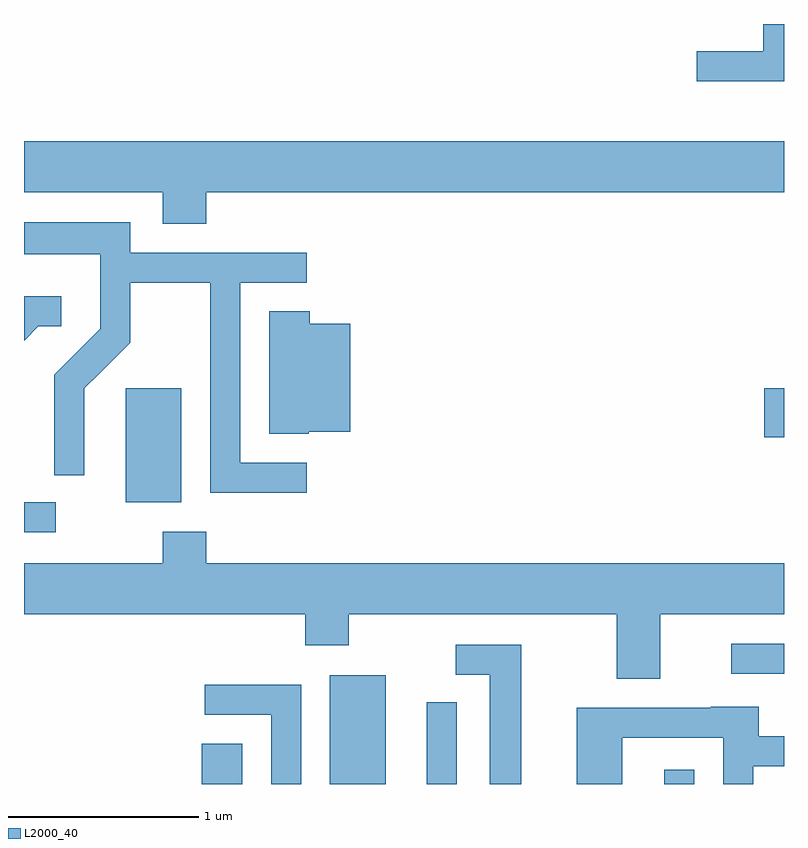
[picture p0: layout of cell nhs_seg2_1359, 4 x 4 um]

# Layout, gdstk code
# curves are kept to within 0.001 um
import gdstk
lib = gdstk.Library(unit=1e-6, precision=1e-09)
def R(c, l, rs):  # rectangles x0, y0, x1, y1
    for r in rs: c.add(gdstk.rectangle(r[:2], r[2:], *l))
def P(c, l, *ps):  # polygons
    for p in ps: c.add(gdstk.Polygon(p, *l))
L2000_40 = (2000, 40)

nhs_seg2_1359 = lib.new_cell('nhs_seg2_1359')
R(nhs_seg2_1359, L2000_40, [(224.546,1111.802,224.759,1112.014), (225.221,1111.802,225.514,1112.374), (225.731,1111.802,225.889,1112.233), (226.981,1111.802,227.139,1111.878), (227.333,1112.381,227.611,1112.539), (223.611,1113.126,223.778,1113.284), (224.146,1113.286,224.439,1113.884), (227.506,1113.626,227.611,1113.884)])
P(nhs_seg2_1359, L2000_40, [(227.611,1115.802),(227.501,1115.802),(227.501,1115.659),(227.153,1115.659),(227.153,1115.501),(227.611,1115.501)],
  [(224.569,1114.916),(227.611,1114.916),(227.611,1115.184),(223.611,1115.184),(223.611,1114.916),(224.341,1114.916),(224.341,1114.751),(224.569,1114.751)],
  [(225.098,1113.494),(224.749,1113.494),(224.749,1114.441),(225.098,1114.441),(225.098,1114.599),(224.169,1114.599),(224.169,1114.759),(223.611,1114.759),(223.611,1114.591),(224.011,1114.591),(224.011,1114.197),(223.771,1113.957),(223.771,1113.428),(223.929,1113.428),(223.929,1113.884),(224.169,1114.124),(224.169,1114.441),(224.591,1114.441),(224.591,1113.336),(225.098,1113.336)],
  [(223.687,1114.211),(223.808,1114.211),(223.808,1114.369),(223.611,1114.369),(223.611,1114.136)],
  [(225.11,1113.656),(225.329,1113.656),(225.329,1114.224),(225.114,1114.224),(225.114,1114.289),(224.901,1114.289),(224.901,1113.646),(225.11,1113.646)],
  [(226.959,1112.696),(227.611,1112.696),(227.611,1112.964),(224.569,1112.964),(224.569,1113.129),(224.341,1113.129),(224.341,1112.964),(223.611,1112.964),(223.611,1112.696),(225.091,1112.696),(225.091,1112.531),(225.319,1112.531),(225.319,1112.696),(226.731,1112.696),(226.731,1112.356),(226.959,1112.356)],
  [(226.229,1112.534),(225.883,1112.534),(225.883,1112.376),(226.061,1112.376),(226.061,1111.802),(226.229,1111.802)],
  [(225.069,1112.324),(224.563,1112.324),(224.563,1112.166),(224.911,1112.166),(224.911,1111.802),(225.069,1111.802)],
  [(226.759,1112.046),(227.291,1112.046),(227.291,1111.802),(227.449,1111.802),(227.449,1111.896),(227.611,1111.896),(227.611,1112.054),(227.479,1112.054),(227.479,1112.209),(227.225,1112.209),(227.225,1112.204),(226.521,1112.204),(226.521,1111.802),(226.759,1111.802)])

lib.write_gds('nhs_seg2_1359.gds')
